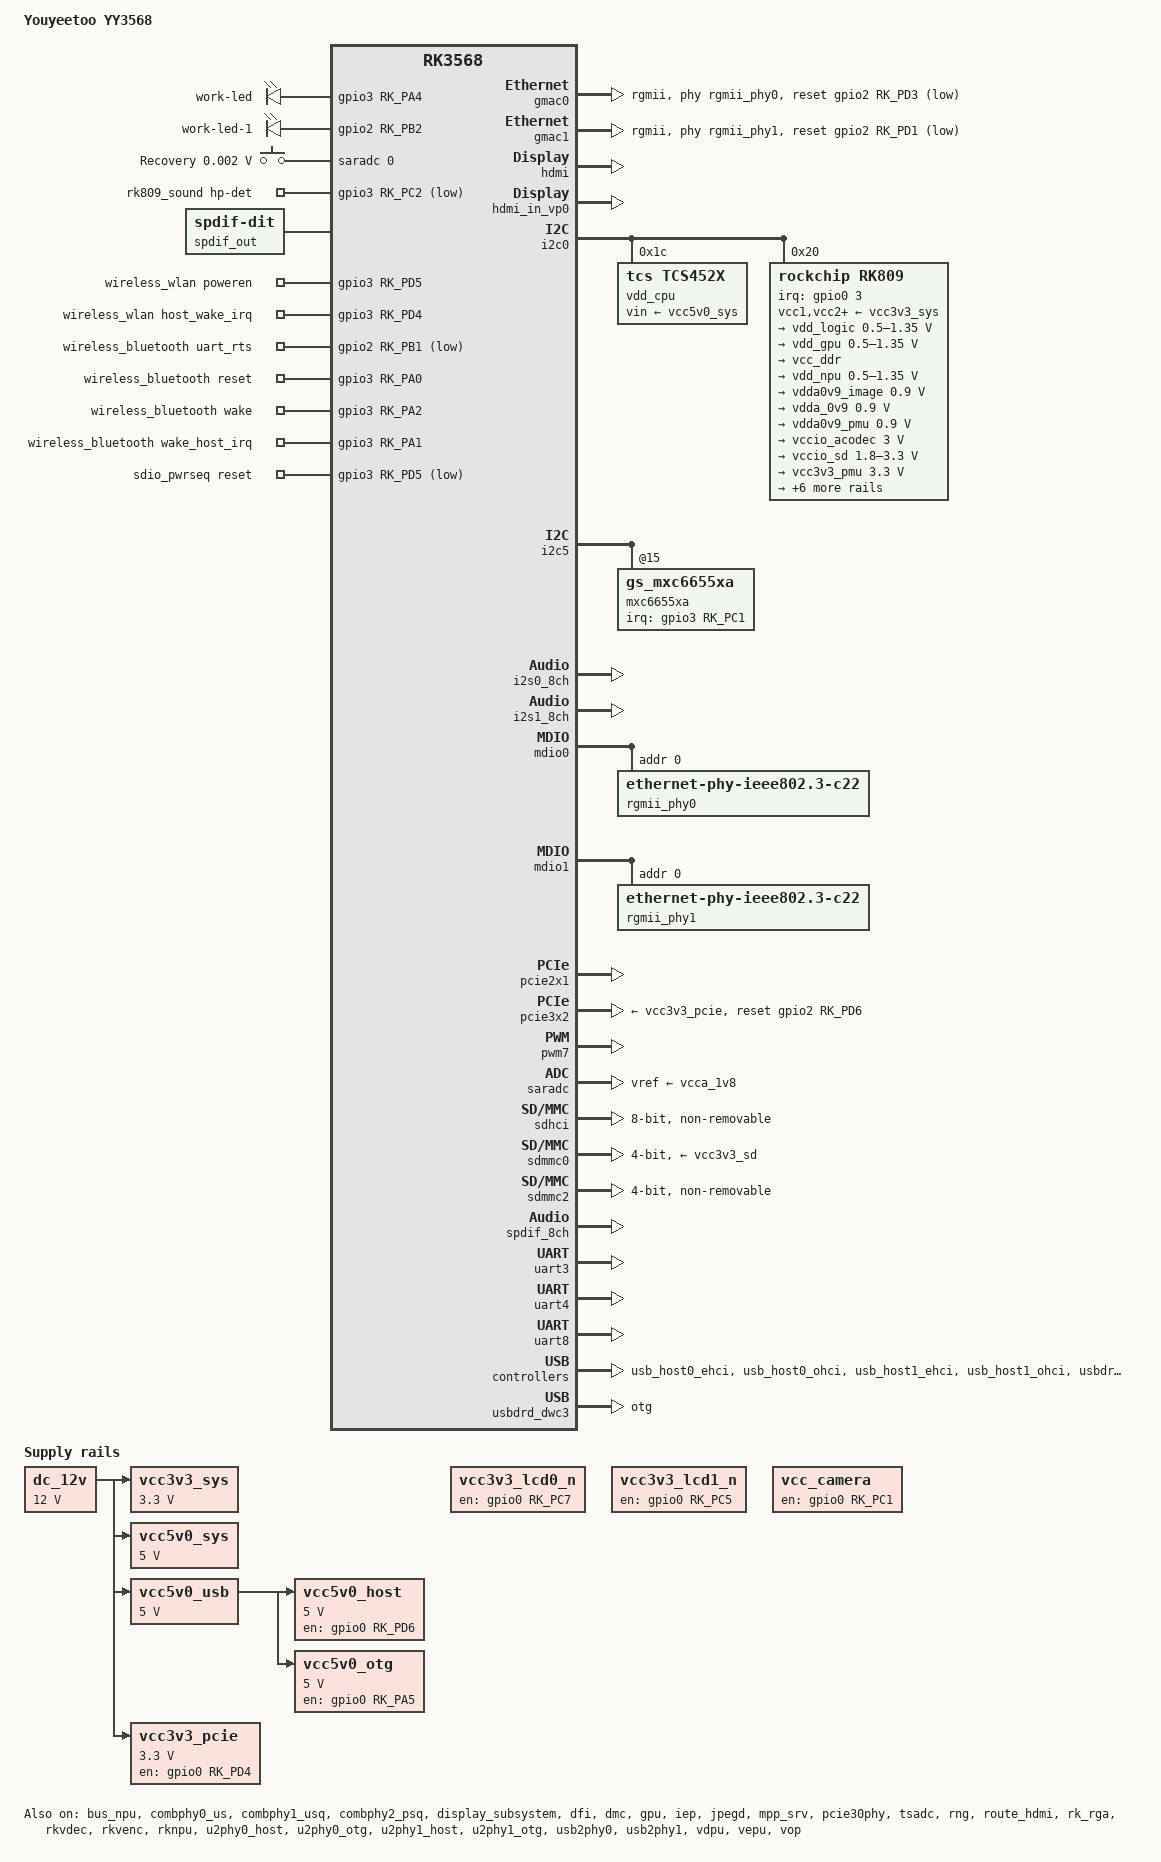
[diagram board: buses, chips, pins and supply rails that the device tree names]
// SPDX-License-Identifier: (GPL-2.0+ OR MIT)
/*
 * Copyright (c) 2020 Rockchip Electronics Co., Ltd.
 *
 */

/dts-v1/;

#include <dt-bindings/gpio/gpio.h>
#include <dt-bindings/pinctrl/rockchip.h>
#include <dt-bindings/display/rockchip_vop.h>
#include <dt-bindings/pwm/pwm.h>
#include <dt-bindings/input/rk-input.h>
#include <dt-bindings/sensor-dev.h>
#include "rk3568.dtsi"

/ {
	model = "Youyeetoo YY3568";
	compatible = "youyeetoo,yy3568", "rockchip,rk3568";

	fiq_debugger: fiq-debugger {
		compatible = "rockchip,fiq-debugger";
		rockchip,serial-id = <2>;
		rockchip,wake-irq = <0>;
		/* If enable uart uses irq instead of fiq */
		rockchip,irq-mode-enable = <1>;
		rockchip,baudrate = <1500000>;  /* Only 115200 and 1500000 */
		interrupts = <GIC_SPI 252 IRQ_TYPE_LEVEL_LOW>;
		pinctrl-names = "default";
		pinctrl-0 = <&uart2m0_xfer>;
		status = "okay";
	};

	debug: debug@fd904000 {
		compatible = "rockchip,debug";
		reg = <0x0 0xfd904000 0x0 0x1000>,
			<0x0 0xfd905000 0x0 0x1000>,
			<0x0 0xfd906000 0x0 0x1000>,
			<0x0 0xfd907000 0x0 0x1000>;
	};

	cspmu: cspmu@fd90c000 {
		compatible = "rockchip,cspmu";
		reg = <0x0 0xfd90c000 0x0 0x1000>,
			<0x0 0xfd90d000 0x0 0x1000>,
			<0x0 0xfd90e000 0x0 0x1000>,
			<0x0 0xfd90f000 0x0 0x1000>;
	};

	leds {
		compatible = "gpio-leds";

		work-led {
			gpios = <&gpio3 RK_PA4 GPIO_ACTIVE_HIGH>;
			linux,default-trigger = "off";
		};

		work-led-1 {
			gpios = <&gpio2 RK_PB2 GPIO_ACTIVE_HIGH>;
			linux,default-trigger = "off";
		};
	};

	adc-keys {
		compatible = "adc-keys";
		io-channels = <&saradc 0>;
		io-channel-names = "buttons";
		keyup-threshold-microvolt = <1800000>;
		poll-interval = <100>;

		button-recovery {
			label = "Recovery";
			linux,code = <KEY_VENDOR>;
			press-threshold-microvolt = <1800>;
		};
	};

	reserved-memory {
		#address-cells = <2>;
		#size-cells = <2>;
		ranges;

		rknpu_reserved: rknpu {
			compatible = "shared-dma-pool";
			inactive;
			reusable;
			size = <0x0 0x20000000>;
			alignment = <0x0 0x1000>;
		};
	};

	audiopwmout_diff: audiopwmout-diff {
		compatible = "simple-audio-card";
		simple-audio-card,format = "i2s";
		simple-audio-card,name = "rockchip,audiopwmout-diff";
		simple-audio-card,mclk-fs = <256>;
		simple-audio-card,bitclock-master = <&master>;
		simple-audio-card,frame-master = <&master>;
		status = "disabled";

		simple-audio-card,cpu {
			sound-dai = <&i2s3_2ch>;
		};
		master: simple-audio-card,codec {
			sound-dai = <&dig_acodec>;
		};
	};

	bt_sco: bt-sco {
		compatible = "delta,dfbmcs320";
		#sound-dai-cells = <1>;
		status = "disabled";
	};

	bt_sound: bt-sound {
		compatible = "simple-audio-card";
		simple-audio-card,format = "dsp_a";
		simple-audio-card,bitclock-inversion = <0>;
		simple-audio-card,mclk-fs = <256>;
		simple-audio-card,name = "rockchip,bt";
		status = "disabled";

		simple-audio-card,cpu {
			sound-dai = <&i2s3_2ch>;
		};
		simple-audio-card,codec {
			sound-dai = <&bt_sco 1>;
		};
	};

	hdmi_sound: hdmi-sound {
		compatible = "simple-audio-card";
		simple-audio-card,format = "i2s";
		simple-audio-card,mclk-fs = <128>;
		simple-audio-card,name = "rockchip,hdmi";
		status = "okay";

		simple-audio-card,cpu {
				sound-dai = <&i2s0_8ch>;
		};
		simple-audio-card,codec {
				sound-dai = <&hdmi>;
		};
	};

	pdmics: dummy-codec {
		status = "disabled";
		compatible = "rockchip,dummy-codec";
		#sound-dai-cells = <0>;
	};

	pdm_mic_array: pdm-mic-array {
		status = "disabled";
		compatible = "simple-audio-card";
		simple-audio-card,name = "rockchip,pdm-mic-array";
		simple-audio-card,cpu {
			sound-dai = <&pdm>;
		};
		simple-audio-card,codec {
			sound-dai = <&pdmics>;
		};
	};

	rk809_sound: rk809-sound {
		compatible = "rockchip,multicodecs-card";
		pinctrl-names = "default";
		pinctrl-0 = <&hp_det>;
		rockchip,card-name = "rockchip-rk809";
		rockchip,format = "i2s";
		rockchip,mclk-fs = <256>;
		rockchip,cpu = <&i2s1_8ch>;
		rockchip,codec = <&rk809_codec>;
		hp-det-gpio = <&gpio3 RK_PC2 GPIO_ACTIVE_LOW>;
		status = "okay";
	};

	spdif-sound {
		compatible = "simple-audio-card";
		simple-audio-card,name = "ROCKCHIP,SPDIF";
		simple-audio-card,mclk-fs = <128>;
		status = "okay";

		simple-audio-card,cpu {
				sound-dai = <&spdif_8ch>;
		};
		simple-audio-card,codec {
				sound-dai = <&spdif_out>;
		};
	};

	spdif_out: spdif-out {
			compatible = "linux,spdif-dit";
			#sound-dai-cells = <0>;
			status = "okay";
	};

	wireless_wlan: wireless-wlan {
		compatible = "wlan-platdata";
		pinctrl-names = "default";
		pinctrl-0 = <&wifi_host_wake_irq>;	
		rockchip,grf = <&grf>;
		wifi_chip_type = "ap6398s";
		WIFI,poweren_gpio = <&gpio3 RK_PD5 GPIO_ACTIVE_HIGH>;
		WIFI,host_wake_irq = <&gpio3 RK_PD4 GPIO_ACTIVE_HIGH>;
		status = "okay";
	};

	wireless_bluetooth: wireless-bluetooth {
		compatible = "bluetooth-platdata";
		clocks = <&rk809 1>;
		clock-names = "ext_clock";
		//wifi-bt-power-toggle;
		uart_rts_gpios = <&gpio2 RK_PB1 GPIO_ACTIVE_LOW>;
		pinctrl-names = "default", "rts_gpio";
		pinctrl-0 = <&uart8m0_rtsn>;
		pinctrl-1 = <&uart8_gpios>;
		BT,reset_gpio    = <&gpio3 RK_PA0 GPIO_ACTIVE_HIGH>;
		BT,wake_gpio     = <&gpio3 RK_PA2 GPIO_ACTIVE_HIGH>;
		BT,wake_host_irq = <&gpio3 RK_PA1 GPIO_ACTIVE_HIGH>;
		status = "okay";
	};

	sdio_pwrseq: sdio-pwrseq {
		compatible = "mmc-pwrseq-simple";
		clocks = <&rk809 1>;
		clock-names = "ext_clock";
		pinctrl-names = "default";
		pinctrl-0 = <&wifi_enable_h>;

		/*
		 * On the module itself this is one of these (depending
		 * on the actual card populated):
		 * - SDIO_RESET_L_WL_REG_ON
		 * - PDN (power down when low)
		 */
		post-power-on-delay-ms = <200>;
		reset-gpios = <&gpio3 RK_PD5 GPIO_ACTIVE_LOW>;
	};

	dc_12v: dc-12v {
		compatible = "regulator-fixed";
		regulator-name = "dc_12v";
		regulator-always-on;
		regulator-boot-on;
		regulator-min-microvolt = <12000000>;
		regulator-max-microvolt = <12000000>;
	};

	vcc3v3_sys: vcc3v3-sys {
		compatible = "regulator-fixed";
		regulator-name = "vcc3v3_sys";
		regulator-always-on;
		regulator-boot-on;
		regulator-min-microvolt = <3300000>;
		regulator-max-microvolt = <3300000>;
		vin-supply = <&dc_12v>;
	};

	vcc5v0_sys: vcc5v0-sys {
		compatible = "regulator-fixed";
		regulator-name = "vcc5v0_sys";
		regulator-always-on;
		regulator-boot-on;
		regulator-min-microvolt = <5000000>;
		regulator-max-microvolt = <5000000>;
		vin-supply = <&dc_12v>;
	};

	vcc5v0_usb: vcc5v0-usb {
		compatible = "regulator-fixed";
		regulator-name = "vcc5v0_usb";
		regulator-always-on;
		regulator-boot-on;
		regulator-min-microvolt = <5000000>;
		regulator-max-microvolt = <5000000>;
		vin-supply = <&dc_12v>;
	};

	vcc5v0_host: vcc5v0-host-regulator {
		compatible = "regulator-fixed";
		regulator-name = "vcc5v0_host";
		regulator-boot-on;
		regulator-always-on;
		enable-active-high;
		gpio = <&gpio0 RK_PD6 GPIO_ACTIVE_HIGH>;
		pinctrl-names = "default";
		pinctrl-0 = <&vcc5v0_host_en>;
		regulator-min-microvolt = <5000000>;
		regulator-max-microvolt = <5000000>;
		vin-supply = <&vcc5v0_usb>;
	};

	vcc5v0_otg: vcc5v0-otg-regulator {
		compatible = "regulator-fixed";
		regulator-name = "vcc5v0_otg";
		enable-active-high;
		gpio = <&gpio0 RK_PA5 GPIO_ACTIVE_HIGH>;
		pinctrl-names = "default";
		pinctrl-0 = <&vcc5v0_otg_en>;
		regulator-min-microvolt = <5000000>;
		regulator-max-microvolt = <5000000>;
		vin-supply = <&vcc5v0_usb>;
	};

	vcc3v3_lcd0_n: vcc3v3-lcd0-n {
		compatible = "regulator-fixed";
		regulator-name = "vcc3v3_lcd0_n";
		enable-active-high;
		regulator-boot-on;
		gpio = <&gpio0 RK_PC7 GPIO_ACTIVE_HIGH>;
		
		regulator-state-mem {
			regulator-off-in-suspend;
		};
	};

	vcc3v3_lcd1_n: vcc3v3-lcd1-n {
		compatible = "regulator-fixed";
		regulator-name = "vcc3v3_lcd1_n";
		enable-active-high;
		regulator-boot-on;
		gpio = <&gpio0 RK_PC5 GPIO_ACTIVE_HIGH>;
		
		regulator-state-mem {
			regulator-off-in-suspend;
		};
	};

	vcc3v3_pcie: gpio-regulator {
		compatible = "regulator-fixed";
		regulator-name = "vcc3v3_pcie";
		regulator-min-microvolt = <3300000>;
		regulator-max-microvolt = <3300000>;
		enable-active-high;
		gpio = <&gpio0 RK_PD4 GPIO_ACTIVE_HIGH>;
		startup-delay-us = <5000>;
		vin-supply = <&dc_12v>;
	};

	vcc_camera: vcc-camera-regulator {
		compatible = "regulator-fixed";
		regulator-name = "vcc_camera";
		enable-active-high;
		regulator-always-on;
		regulator-boot-on;
		pinctrl-names = "default";
		pinctrl-0 = <&camera_pwr>;
		gpio = <&gpio0 RK_PC1 GPIO_ACTIVE_HIGH>;
	};
};

&bus_npu {
	bus-supply = <&vdd_logic>;
	pvtm-supply = <&vdd_cpu>;
	status = "okay";
};

&combphy0_us {
	status = "okay";
};

&combphy1_usq {
	status = "okay";
};

&combphy2_psq {
	status = "okay";
};

&cpu0 {
	cpu-supply = <&vdd_cpu>;
};

&display_subsystem {
    status = "okay";
};

&dfi {
	status = "okay";
};

&dmc {
	center-supply = <&vdd_logic>;
	status = "okay";
};

&gpu {
	clock-names = "gpu", "bus";
	interrupt-names = "gpu", "mmu", "job";
	mali-supply = <&vdd_gpu>;
	status = "okay";
};

&gmac0 {
	phy-mode = "rgmii";
	clock_in_out = "output";

	snps,reset-gpio = <&gpio2 RK_PD3 GPIO_ACTIVE_LOW>;
	snps,reset-active-low;
	/* Reset time is 20ms, 100ms for rtl8211f */
	snps,reset-delays-us = <0 20000 100000>;

	assigned-clocks = <&cru SCLK_GMAC0_RX_TX>, <&cru SCLK_GMAC0>;
	assigned-clock-parents = <&cru SCLK_GMAC0_RGMII_SPEED>, <&cru CLK_MAC0_2TOP>;
	assigned-clock-rates = <0>, <125000000>;

	pinctrl-names = "default";
	pinctrl-0 = <&gmac0_miim
		     &gmac0_tx_bus2
		     &gmac0_rx_bus2
		     &gmac0_rgmii_clk
		     &gmac0_rgmii_bus>;

	tx_delay = <0x3c>;
	rx_delay = <0x2f>;

	phy-handle = <&rgmii_phy0>;
	status = "okay";
};

&gmac1 {
	phy-mode = "rgmii";
	clock_in_out = "output";

	snps,reset-gpio = <&gpio2 RK_PD1 GPIO_ACTIVE_LOW>;
	snps,reset-active-low;
	/* Reset time is 20ms, 100ms for rtl8211f */
	snps,reset-delays-us = <0 20000 100000>;

	assigned-clocks = <&cru SCLK_GMAC1_RX_TX>, <&cru SCLK_GMAC1>;
	assigned-clock-parents = <&cru SCLK_GMAC1_RGMII_SPEED>, <&cru CLK_MAC1_2TOP>;
	assigned-clock-rates = <0>, <125000000>;

	pinctrl-names = "default";
	pinctrl-0 = <&gmac1m1_miim
		     &gmac1m1_tx_bus2
		     &gmac1m1_rx_bus2
		     &gmac1m1_rgmii_clk
		     &gmac1m1_rgmii_bus>;

	tx_delay = <0x4f>;
	rx_delay = <0x26>;

	phy-handle = <&rgmii_phy1>;
	status = "okay";
};

&hdmi {
	rockchip,phy-table =
		<92812500  0x8009 0x0000 0x0270>,
		<165000000 0x800b 0x0000 0x026d>,
		<185625000 0x800b 0x0000 0x01ed>,
		<297000000 0x800b 0x0000 0x01ad>,
		<594000000 0x8029 0x0000 0x0088>,
		<000000000 0x0000 0x0000 0x0000>;
		status = "okay";
};

&hdmi_in_vp0 {
	status = "okay";
};

&hdmi_in_vp1 {
	status = "disabled";
};

&i2c0 {
	status = "okay";

	vdd_cpu: tcs452x@1c {
		compatible = "tcs,tcs452x";
		reg = <0x1c>;
		vin-supply = <&vcc5v0_sys>;
		regulator-compatible = "fan53555-reg";
		regulator-name = "vdd_cpu";
		regulator-min-microvolt = <712500>;
		regulator-max-microvolt = <1390000>;
		regulator-init-microvolt = <900000>;
		regulator-ramp-delay = <2300>;
		fcs,suspend-voltage-selector = <1>;
		regulator-boot-on;
		regulator-always-on;
		
		regulator-state-mem {
			regulator-off-in-suspend;
		};
	};

	rk809: pmic@20 {
		compatible = "rockchip,rk809";
		reg = <0x20>;
		interrupt-parent = <&gpio0>;
		interrupts = <3 IRQ_TYPE_LEVEL_LOW>;

		pinctrl-names = "default", "pmic-sleep",
				"pmic-power-off", "pmic-reset";
		pinctrl-0 = <&pmic_int>;
		pinctrl-1 = <&soc_slppin_slp>, <&rk817_slppin_slp>;
		pinctrl-2 = <&soc_slppin_gpio>, <&rk817_slppin_pwrdn>;
		pinctrl-3 = <&soc_slppin_gpio>, <&rk817_slppin_rst>;

		rockchip,system-power-controller;
		wakeup-source;
		#clock-cells = <1>;
		clock-output-names = "rk808-clkout1", "rk808-clkout2";
		//fb-inner-reg-idxs = <2>;
		/* 1: rst regs (default in codes), 0: rst the pmic */
		pmic-reset-func = <0>;
		/* not save the PMIC_POWER_EN register in uboot */
		not-save-power-en = <1>;

		vcc1-supply = <&vcc3v3_sys>;
		vcc2-supply = <&vcc3v3_sys>;
		vcc3-supply = <&vcc3v3_sys>;
		vcc4-supply = <&vcc3v3_sys>;
		vcc5-supply = <&vcc3v3_sys>;
		vcc6-supply = <&vcc3v3_sys>;
		vcc7-supply = <&vcc3v3_sys>;
		vcc8-supply = <&vcc3v3_sys>;
		vcc9-supply = <&vcc3v3_sys>;

		pwrkey {
			status = "okay";
		};

		pinctrl_rk8xx: pinctrl_rk8xx {
			gpio-controller;
			#gpio-cells = <2>;

			rk817_slppin_null: rk817_slppin_null {
				pins = "gpio_slp";
				function = "pin_fun0";
			};

			rk817_slppin_slp: rk817_slppin_slp {
				pins = "gpio_slp";
				function = "pin_fun1";
			};

			rk817_slppin_pwrdn: rk817_slppin_pwrdn {
				pins = "gpio_slp";
				function = "pin_fun2";
			};

			rk817_slppin_rst: rk817_slppin_rst {
				pins = "gpio_slp";
				function = "pin_fun3";
			};
		};

		regulators {
			vdd_logic: DCDC_REG1 {
				regulator-always-on;
				regulator-boot-on;
				regulator-min-microvolt = <500000>;
				regulator-max-microvolt = <1350000>;
				regulator-init-microvolt = <900000>;
				regulator-ramp-delay = <6001>;
				regulator-initial-mode = <0x2>;
				regulator-name = "vdd_logic";
				regulator-state-mem {
					regulator-off-in-suspend;
				};
			};

			vdd_gpu: DCDC_REG2 {
				regulator-always-on;
				regulator-boot-on;
				regulator-min-microvolt = <500000>;
				regulator-max-microvolt = <1350000>;
				regulator-init-microvolt = <900000>;
				regulator-ramp-delay = <6001>;
				regulator-initial-mode = <0x2>;
				regulator-name = "vdd_gpu";
				regulator-state-mem {
					regulator-off-in-suspend;
				};
			};

			vcc_ddr: DCDC_REG3 {
				regulator-always-on;
				regulator-boot-on;
				regulator-initial-mode = <0x2>;
				regulator-name = "vcc_ddr";
				regulator-state-mem {
					regulator-on-in-suspend;
				};
			};

			vdd_npu: DCDC_REG4 {
				regulator-always-on;
				regulator-boot-on;
				regulator-min-microvolt = <500000>;
				regulator-max-microvolt = <1350000>;
				regulator-init-microvolt = <900000>;
				regulator-ramp-delay = <6001>;
				regulator-initial-mode = <0x2>;
				regulator-name = "vdd_npu";
				regulator-state-mem {
					regulator-off-in-suspend;
				};
			};

			vdda0v9_image: LDO_REG1 {
				regulator-boot-on;
				regulator-always-on;
				regulator-min-microvolt = <900000>;
				regulator-max-microvolt = <900000>;
				regulator-name = "vdda0v9_image";
				regulator-state-mem {
					regulator-off-in-suspend;
				};
			};

			vdda_0v9: LDO_REG2 {
				regulator-always-on;
				regulator-boot-on;
				regulator-min-microvolt = <900000>;
				regulator-max-microvolt = <900000>;
				regulator-name = "vdda_0v9";
				regulator-state-mem {
					regulator-off-in-suspend;
				};
			};

			vdda0v9_pmu: LDO_REG3 {
				regulator-always-on;
				regulator-boot-on;
				regulator-min-microvolt = <900000>;
				regulator-max-microvolt = <900000>;
				regulator-name = "vdda0v9_pmu";
				regulator-state-mem {
					regulator-on-in-suspend;
					regulator-suspend-microvolt = <900000>;
				};
			};

			vccio_acodec: LDO_REG4 {
				regulator-always-on;
				regulator-boot-on;
				regulator-min-microvolt = <3000000>;
				regulator-max-microvolt = <3000000>;
				regulator-name = "vccio_acodec";
				regulator-state-mem {
					regulator-off-in-suspend;
				};
			};

			vccio_sd: LDO_REG5 {
				regulator-always-on;
				regulator-boot-on;
				regulator-min-microvolt = <1800000>;
				regulator-max-microvolt = <3300000>;
				regulator-name = "vccio_sd";
				regulator-state-mem {
					regulator-off-in-suspend;
				};
			};

			vcc3v3_pmu: LDO_REG6 {
				regulator-always-on;
				regulator-boot-on;
				regulator-min-microvolt = <3300000>;
				regulator-max-microvolt = <3300000>;
				regulator-name = "vcc3v3_pmu";
				regulator-state-mem {
					regulator-on-in-suspend;
					regulator-suspend-microvolt = <3300000>;
				};
			};

			vcca_1v8: LDO_REG7 {
				regulator-always-on;
				regulator-boot-on;
				regulator-min-microvolt = <1800000>;
				regulator-max-microvolt = <1800000>;
				regulator-name = "vcca_1v8";
				regulator-state-mem {
					regulator-off-in-suspend;
				};
			};

			vcca1v8_pmu: LDO_REG8 {
				regulator-always-on;
				regulator-boot-on;
				regulator-min-microvolt = <1800000>;
				regulator-max-microvolt = <1800000>;
				regulator-name = "vcca1v8_pmu";
				regulator-state-mem {
					regulator-on-in-suspend;
					regulator-suspend-microvolt = <1800000>;
				};
			};

			vcca1v8_image: LDO_REG9 {
				regulator-always-on;
				regulator-boot-on;
				regulator-min-microvolt = <1800000>;
				regulator-max-microvolt = <1800000>;
				regulator-name = "vcca1v8_image";
				regulator-state-mem {
					regulator-off-in-suspend;
				};
			};

			vcc_1v8: DCDC_REG5 {
				regulator-always-on;
				regulator-boot-on;
				regulator-min-microvolt = <1800000>;
				regulator-max-microvolt = <1800000>;
				regulator-name = "vcc_1v8";
				regulator-state-mem {
					regulator-off-in-suspend;
				};
			};

			vcc_3v3: SWITCH_REG1 {
				regulator-always-on;
				regulator-boot-on;
				regulator-name = "vcc_3v3";
				regulator-state-mem {
					regulator-off-in-suspend;
				};
			};

			vcc3v3_sd: SWITCH_REG2 {
				regulator-always-on;
				regulator-boot-on;
				regulator-name = "vcc3v3_sd";
				regulator-state-mem {
					regulator-off-in-suspend;
				};
			};
		};

		rk809_codec: codec {
			#sound-dai-cells = <1>;
			compatible = "rockchip,rk809-codec", "rockchip,rk817-codec";
			clocks = <&cru I2S1_MCLKOUT>;
			clock-names = "mclk";
			assigned-clocks = <&cru I2S1_MCLKOUT>, <&cru I2S1_MCLK_TX_IOE>;
			assigned-clock-rates = <12288000>;
			assigned-clock-parents = <&cru I2S1_MCLKOUT_TX>, <&cru I2S1_MCLKOUT_TX>;
			pinctrl-names = "default";
			pinctrl-0 = <&i2s1m0_mclk>;
			hp-volume = <20>;
			spk-volume = <3>;
			mic-in-differential;
			status = "okay";
		};
	};
};

&i2c5 {
	status = "okay";

	mxc6655xa: mxc6655xa@15 {
		status = "okay";
		compatible = "gs_mxc6655xa";
		pinctrl-names = "default";
		irq-gpio = <&gpio3 RK_PC1 IRQ_TYPE_LEVEL_LOW>;
		irq_enable = <0>;
		poll_delay_ms = <30>;
		type = <SENSOR_TYPE_ACCEL>;
		power-off-in-suspend = <1>;
		layout = <1>;
	};
};

&i2s0_8ch {
	status = "okay";
};

&i2s1_8ch {
	rockchip,clk-trcm = <1>;
	pinctrl-names = "default";
	pinctrl-0 = <&i2s1m0_sclktx
		     &i2s1m0_lrcktx
		     &i2s1m0_sdi0
		     &i2s1m0_sdo0>;
	status = "okay";
};

&i2s3_2ch {
	pinctrl-0 = <&i2s3m0_sclk &i2s3m0_lrck &i2s3m0_sdi &i2s3m0_sdo>;
	rockchip,bclk-fs = <32>;
	status = "disabled";
};

&mdio0 {
	rgmii_phy0: phy@0 {
		compatible = "ethernet-phy-ieee802.3-c22";
		reg = <0x0>;
	};
};

&mdio1 {
	rgmii_phy1: phy@0 {
		compatible = "ethernet-phy-ieee802.3-c22";
		reg = <0x0>;
	};
};

&iep {
	status = "okay";
};

&iep_mmu {
	status = "okay";
};

&jpegd {
	status = "okay";
};

&jpegd_mmu {
	status = "okay";
};

&mpp_srv {
	status = "okay";
};

&pcie2x1 {
	status = "okay";
};

&pcie30phy {
	status = "okay";
};

&pcie3x2 {
	reset-gpios = <&gpio2 RK_PD6 GPIO_ACTIVE_HIGH>;
	vpcie3v3-supply = <&vcc3v3_pcie>;
	status = "okay";
};

&pmu_io_domains {
	pmuio2-supply = <&vcc3v3_pmu>;
	vccio1-supply = <&vccio_acodec>;
	vccio3-supply = <&vccio_sd>;
	vccio4-supply = <&vcc_1v8>;
	vccio5-supply = <&vcc_3v3>;
	vccio6-supply = <&vcc_1v8>;
	vccio7-supply = <&vcc_3v3>;
	status = "okay";
};

&pwm7 {
	status = "okay";

	compatible = "rockchip,remotectl-pwm";
	remote_pwm_id = <3>;
	handle_cpu_id = <1>;
	remote_support_psci = <0>;
	pinctrl-names = "default";
	pinctrl-0 = <&pwm7_pins>;

	ir_key1 {
		rockchip,usercode = <0x4040>;
		rockchip,key_table =
			<0xf2	KEY_REPLY>,
			<0xba	KEY_BACK>,
			<0xf4	KEY_UP>,
			<0xf1	KEY_DOWN>,
			<0xef	KEY_LEFT>,
			<0xee	KEY_RIGHT>,
			<0xbd	KEY_HOME>,
			<0xea	KEY_VOLUMEUP>,
			<0xe3	KEY_VOLUMEDOWN>,
			<0xe2	KEY_SEARCH>,
			<0xb2	KEY_POWER>,
			<0xbc	KEY_MUTE>,
			<0xec	KEY_MENU>,
			<0xbf	0x190>,
			<0xe0	0x191>,
			<0xe1	0x192>,
			<0xe9	183>,
			<0xe6	248>,
			<0xe8	185>,
			<0xe7	186>,
			<0xf0	388>,
			<0xbe	0x175>;
	};

	ir_key2 {
		rockchip,usercode = <0xff00>;
		rockchip,key_table =
			<0xf9	KEY_HOME>,
			<0xbf	KEY_BACK>,
			<0xfb	KEY_MENU>,
			<0xaa	KEY_REPLY>,
			<0xb9	KEY_UP>,
			<0xe9	KEY_DOWN>,
			<0xb8	KEY_LEFT>,
			<0xea	KEY_RIGHT>,
			<0xeb	KEY_VOLUMEDOWN>,
			<0xef	KEY_VOLUMEUP>,
			<0xf7	KEY_MUTE>,
			<0xe7	KEY_POWER>,
			<0xfc	KEY_POWER>,
			<0xa9	KEY_VOLUMEDOWN>,
			<0xa8	KEY_VOLUMEDOWN>,
			<0xe0	KEY_VOLUMEDOWN>,
			<0xa5	KEY_VOLUMEDOWN>,
			<0xab	183>,
			<0xb7	388>,
			<0xe8	388>,
			<0xf8	184>,
			<0xaf	185>,
			<0xed	KEY_VOLUMEDOWN>,
			<0xee	186>,
			<0xb3	KEY_VOLUMEDOWN>,
			<0xf1	KEY_VOLUMEDOWN>,
			<0xf2	KEY_VOLUMEDOWN>,
			<0xf3	KEY_SEARCH>,
			<0xb4	KEY_VOLUMEDOWN>,
			<0xbe	KEY_SEARCH>;
	};

	ir_key3 {
		rockchip,usercode = <0x1dcc>;
		rockchip,key_table =
			<0xee	KEY_REPLY>,
			<0xf0	KEY_BACK>,
			<0xf8	KEY_UP>,
			<0xbb	KEY_DOWN>,
			<0xef	KEY_LEFT>,
			<0xed	KEY_RIGHT>,
			<0xfc	KEY_HOME>,
			<0xf1	KEY_VOLUMEUP>,
			<0xfd	KEY_VOLUMEDOWN>,
			<0xb7	KEY_SEARCH>,
			<0xff	KEY_POWER>,
			<0xf3	KEY_MUTE>,
			<0xbf	KEY_MENU>,
			<0xf9	0x191>,
			<0xf5	0x192>,
			<0xb3	388>,
			<0xbe	KEY_1>,
			<0xba	KEY_2>,
			<0xb2	KEY_3>,
			<0xbd	KEY_4>,
			<0xf9	KEY_5>,
			<0xb1	KEY_6>,
			<0xfc	KEY_7>,
			<0xf8	KEY_8>,
			<0xb0	KEY_9>,
			<0xb6	KEY_0>,
			<0xb5	KEY_BACKSPACE>;
	};
};

&pinctrl {
	cam {
		camera_pwr: camera-pwr {
			rockchip,pins =
				/* camera power en */
				<0 RK_PC1 RK_FUNC_GPIO &pcfg_pull_none>;
		};
	};

	headphone {
		hp_det: hp-det {
			rockchip,pins = <3 RK_PC2 RK_FUNC_GPIO &pcfg_pull_down>;
		};
	};

	wireless-wlan {
		wifi_host_wake_irq: wifi-host-wake-irq {
			rockchip,pins = <3 RK_PD4 RK_FUNC_GPIO &pcfg_pull_down>;
		};
	};

	wireless-bluetooth {
		uart8_gpios: uart8-gpios {
			rockchip,pins = <2 RK_PB1 RK_FUNC_GPIO &pcfg_pull_none>;
		};
	};

	headphone {
		hp_det: hp-det {
			rockchip,pins = <3 RK_PA1 RK_FUNC_GPIO &pcfg_pull_down>;
		};
	};

	mxc6655xa {
		mxc6655xa_irq_gpio: mxc6655xa_irq_gpio {
			rockchip,pins = <3 RK_PC1 RK_FUNC_GPIO &pcfg_pull_none>;
		};
	};

	pmic {
		pmic_int: pmic_int {
			rockchip,pins =
				<0 RK_PA3 RK_FUNC_GPIO &pcfg_pull_up>;
		};

		soc_slppin_gpio: soc_slppin_gpio {
			rockchip,pins =
				<0 RK_PA2 RK_FUNC_GPIO &pcfg_output_low>;
		};

		soc_slppin_slp: soc_slppin_slp {
			rockchip,pins =
				<0 RK_PA2 1 &pcfg_pull_none>;
		};

		soc_slppin_rst: soc_slppin_rst {
			rockchip,pins =
				<0 RK_PA2 2 &pcfg_pull_none>;
		};
	};

	sdio-pwrseq {
		wifi_enable_h: wifi-enable-h {
			rockchip,pins = <3 RK_PD5 RK_FUNC_GPIO &pcfg_pull_none>;
		};
	};

	usb {
		vcc5v0_host_en: vcc5v0-host-en {
			rockchip,pins = <0 RK_PD6 RK_FUNC_GPIO &pcfg_pull_none>;
		};

		vcc5v0_otg_en: vcc5v0-otg-en {
			rockchip,pins = <0 RK_PA5 RK_FUNC_GPIO &pcfg_pull_none>;
		};
	};

	wireless-bluetooth {
		uart8_gpios: uart8-gpios {
			rockchip,pins = <2 RK_PB1 RK_FUNC_GPIO &pcfg_pull_none>;
		};
	};
};

&saradc {
	status = "okay";
	vref-supply = <&vcca_1v8>;
};

&sdhci {
	bus-width = <8>;
	no-sdio;
	no-sd;
	non-removable;
	supports-emmc;
	max-frequency = <200000000>;
	full-pwr-cycle-in-suspend;
	status = "okay";
};

&sdmmc0 {
	max-frequency = <150000000>;
	no-sdio;
	no-mmc;
	supports-sd;
	bus-width = <4>;
	cap-mmc-highspeed;
	cap-sd-highspeed;
	disable-wp;
	sd-uhs-sdr104;
	vmmc-supply = <&vcc3v3_sd>;
	vqmmc-supply = <&vccio_sd>;
	pinctrl-names = "default";
	pinctrl-0 = <&sdmmc0_bus4 &sdmmc0_clk &sdmmc0_cmd &sdmmc0_det>;
	status = "okay";
};

&sdmmc2 {
	max-frequency = <150000000>;
	no-sd;
	no-mmc;
	supports-sdio;
	bus-width = <4>;
	disable-wp;
	cap-sd-highspeed;
	cap-sdio-irq;
	keep-power-in-suspend;
	mmc-pwrseq = <&sdio_pwrseq>;
	non-removable;
	pinctrl-names = "default";
	pinctrl-0 = <&sdmmc2m0_bus4 &sdmmc2m0_cmd &sdmmc2m0_clk>;
	sd-uhs-sdr104;
	status = "okay";
};

&spdif_8ch {
	pinctrl-names = "default";
	pinctrl-0 = <&spdifm1_tx>;
	status = "okay";
};

&tsadc {
	status = "okay";
};

&reserved_memory {
	ramoops: ramoops@110000 {
		compatible = "ramoops";
		reg = <0x0 0x110000 0x0 0xf0000>;
		record-size = <0x20000>;
		console-size = <0x80000>;
		ftrace-size = <0x00000>;
		pmsg-size = <0x50000>;
	};
};

&rng {
	status = "okay";
};

&rockchip_suspend {
	status = "okay";
};

&route_hdmi {
	status = "okay";
	connect = <&vp0_out_hdmi>;
};

&rk_rga {
	status = "okay";
};

&rkvdec {
	status = "okay";
};

&rkvdec_mmu {
	status = "okay";
};

&rkvenc {
	venc-supply = <&vdd_logic>;
	status = "okay";
};

&rkvenc_mmu {
	status = "okay";
};

&rknpu {
	memory-region = <&rknpu_reserved>;
	rknpu-supply = <&vdd_npu>;
	status = "okay";
};

&rknpu_mmu {
	status = "okay";
};

&uart3 {
    pinctrl-0 = <&uart3m1_xfer>;
    status = "okay";
};

&uart4 {
    pinctrl-0 = <&uart4m1_xfer>;
    status = "okay";
};

&uart8 {
    pinctrl-0 = <&uart8m0_xfer>;
    status = "okay";
};

&u2phy0_host {
	phy-supply = <&vcc5v0_host>;
	status = "okay";
};

&u2phy0_otg {
	vbus-supply = <&vcc5v0_otg>;
	status = "okay";
};

&u2phy1_host {
	phy-supply = <&vcc5v0_host>;
	status = "okay";
};

&u2phy1_otg {
	phy-supply = <&vcc5v0_host>;
	status = "okay";
};

&usb2phy0 {
	status = "okay";
};

&usb2phy1 {
	status = "okay";
};

&usb_host0_ehci {
	status = "okay";
};

&usb_host0_ohci {
	status = "okay";
};

&usb_host1_ehci {
	status = "okay";
};

&usb_host1_ohci {
	status = "okay";
};

&usbdrd_dwc3 {
	dr_mode = "otg";
	extcon = <&usb2phy0>;
	status = "okay";
};

&usbdrd30 {
	status = "okay";
};

&usbhost_dwc3 {
	status = "okay";
};

&usbhost30 {
	status = "okay";
};

&vdpu {
	status = "okay";
};

&vdpu_mmu {
	status = "okay";
};

&vepu {
	status = "okay";
};

&vepu_mmu {
	status = "okay";
};

&vop {
	status = "okay";
	assigned-clocks = <&cru DCLK_VOP0>, <&cru DCLK_VOP1>;
	assigned-clock-parents = <&pmucru PLL_HPLL>, <&cru PLL_VPLL>;
};

&vop_mmu {
	status = "okay";
};

&video_phy0 {
	status = "disabled";
};

&video_phy1 {
	status = "disabled";
};

&vp0 {
	rockchip,plane-mask = <(1 << ROCKCHIP_VOP2_CLUSTER0 | 1 << ROCKCHIP_VOP2_ESMART0)>;
	rockchip,primary-plane = <ROCKCHIP_VOP2_ESMART0>;
};

&vp1 {
	rockchip,plane-mask = <(1 << ROCKCHIP_VOP2_CLUSTER1 | 1 << ROCKCHIP_VOP2_ESMART1)>;
	rockchip,primary-plane = <ROCKCHIP_VOP2_ESMART1>;
};
